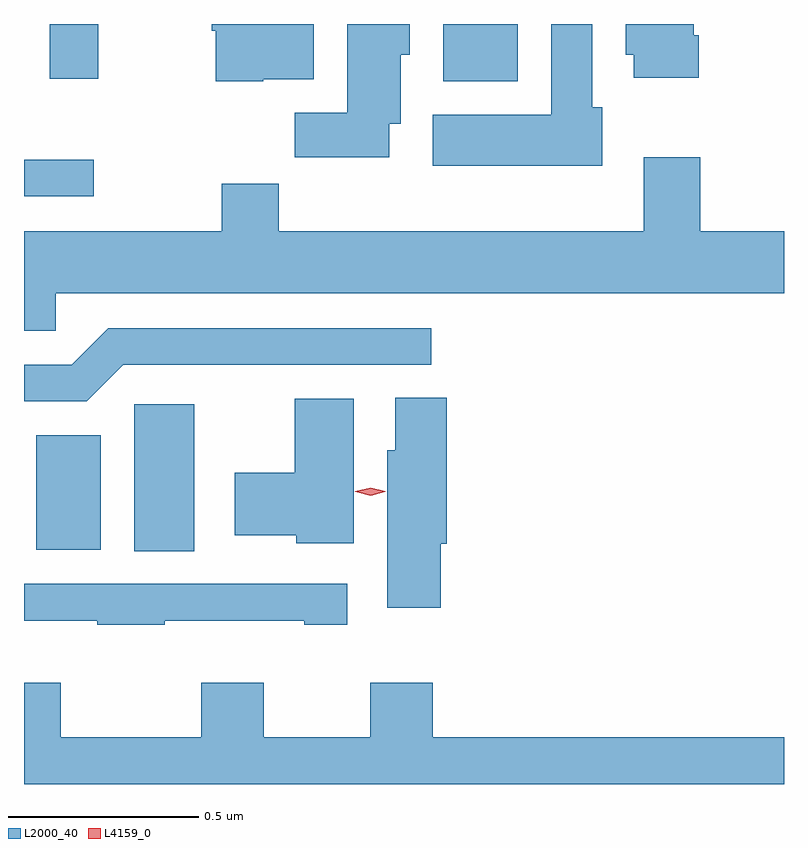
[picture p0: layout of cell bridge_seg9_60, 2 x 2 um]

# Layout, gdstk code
import gdstk
lib = gdstk.Library(unit=1e-6, precision=1e-09)
def R(c, l, rs):  # rectangles x0, y0, x1, y1
    for r in rs: c.add(gdstk.rectangle(r[:2], r[2:], *l))
def P(c, l, *ps):  # polygons
    for p in ps: c.add(gdstk.Polygon(p, *l))
L2000_40 = (2000, 40)
L4159_0 = (4159, 0)

bridge_seg9_60 = lib.new_cell('bridge_seg9_60')
R(bridge_seg9_60, L2000_40, [(1090.658,1210.393,1090.816,1210.78), (1090.4,1210.397,1090.57,1210.699), (1090.368,1211.328,1090.552,1211.424), (1091.471,1211.63,1091.667,1211.781), (1090.436,1211.637,1090.564,1211.781)])
P(bridge_seg9_60, L2000_40, [(1091.329,1211.519),(1091.359,1211.519),(1091.359,1211.7),(1091.383,1211.7),(1091.383,1211.781),(1091.219,1211.781),(1091.219,1211.548),(1091.08,1211.548),(1091.08,1211.43),(1091.329,1211.43)],
  [(1092.143,1211.752),(1092.13,1211.752),(1092.13,1211.781),(1091.951,1211.781),(1091.951,1211.7),(1091.972,1211.7),(1091.972,1211.64),(1092.143,1211.64)],
  [(1091.89,1211.562),(1091.863,1211.562),(1091.863,1211.781),(1091.756,1211.781),(1091.756,1211.542),(1091.444,1211.542),(1091.444,1211.408),(1091.89,1211.408)],
  [(1090.998,1211.636),(1091.131,1211.636),(1091.131,1211.781),(1090.862,1211.781),(1090.862,1211.763),(1090.873,1211.763),(1090.873,1211.63),(1090.998,1211.63)],
  [(1090.452,1211.072),(1092.368,1211.072),(1092.368,1211.236),(1092.147,1211.236),(1092.147,1211.431),(1091.999,1211.431),(1091.999,1211.236),(1091.039,1211.236),(1091.039,1211.36),(1090.888,1211.36),(1090.888,1211.236),(1090.368,1211.236),(1090.368,1210.974),(1090.452,1210.974)],
  [(1090.629,1210.884),(1091.44,1210.884),(1091.44,1210.98),(1090.59,1210.98),(1090.494,1210.884),(1090.368,1210.884),(1090.368,1210.788),(1090.533,1210.788)],
  [(1091.465,1210.413),(1091.48,1210.413),(1091.48,1210.798),(1091.345,1210.798),(1091.345,1210.659),(1091.324,1210.659),(1091.324,1210.245),(1091.465,1210.245)],
  [(1091.236,1210.795),(1091.081,1210.795),(1091.081,1210.6),(1090.923,1210.6),(1090.923,1210.436),(1091.085,1210.436),(1091.085,1210.415),(1091.236,1210.415)],
  [(1090.739,1210.211),(1091.105,1210.211),(1091.105,1210.2),(1091.218,1210.2),(1091.218,1210.308),(1090.368,1210.308),(1090.368,1210.211),(1090.561,1210.211),(1090.561,1210.2),(1090.739,1210.2)],
  [(1090.368,1210.048),(1090.368,1209.781),(1092.368,1209.781),(1092.368,1209.904),(1091.443,1209.904),(1091.443,1210.048),(1091.279,1210.048),(1091.279,1209.904),(1090.999,1209.904),(1090.999,1210.048),(1090.835,1210.048),(1090.835,1209.904),(1090.465,1209.904),(1090.465,1210.048)])
P(bridge_seg9_60, L4159_0, [(1091.28,1210.54),(1091.24,1210.55),(1091.24,1210.55),(1091.24,1210.551),(1091.28,1210.56),(1091.319,1210.551),(1091.319,1210.55),(1091.319,1210.55)])

lib.write_gds('bridge_seg9_60.gds')
